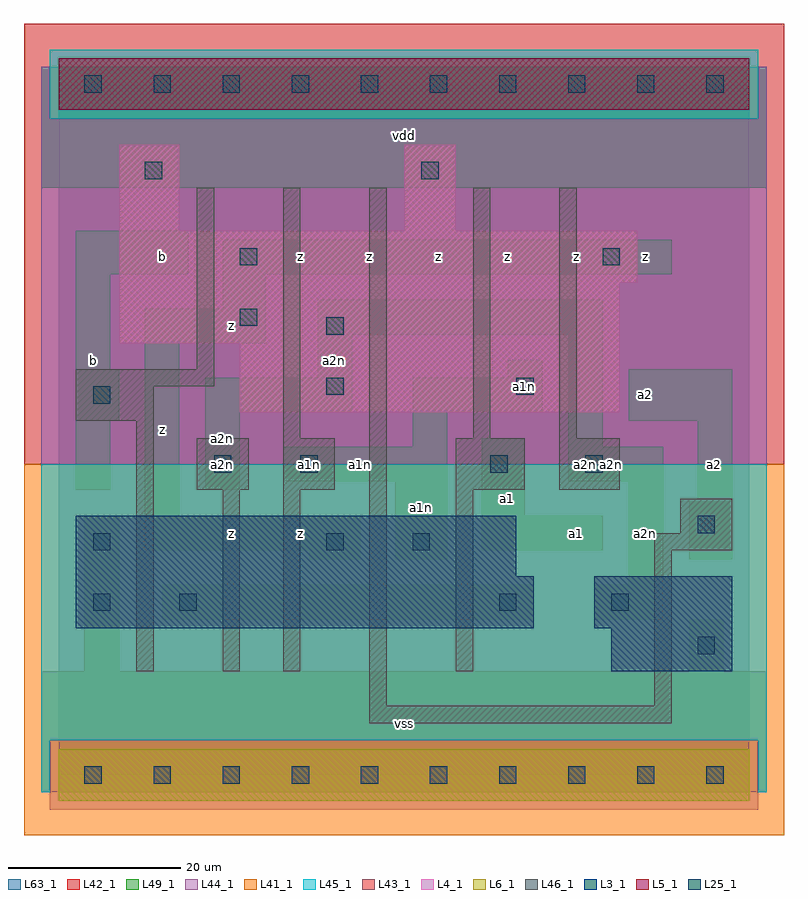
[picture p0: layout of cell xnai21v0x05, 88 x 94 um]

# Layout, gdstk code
import gdstk
lib = gdstk.Library(unit=1e-6, precision=1e-09)
def R(c, l, rs):  # rectangles x0, y0, x1, y1
    for r in rs: c.add(gdstk.rectangle(r[:2], r[2:], *l))
def A(c, l, x, y, w, h, nx, ny, dx, dy):  # array of equal rectangles
    R(c, l, [(x+i*dx, y+j*dy, x+i*dx+w, y+j*dy+h) for i in range(nx) for j in range(ny)])
L3_1 = (3, 1)
L4_1 = (4, 1)
L5_1 = (5, 1)
L6_1 = (6, 1)
L25_1 = (25, 1)
L41_1 = (41, 1)
L42_1 = (42, 1)
L43_1 = (43, 1)
L44_1 = (44, 1)
L45_1 = (45, 1)
L46_1 = (46, 1)
L49_1 = (49, 1)
L63_1 = (63, 1)

xnai21v0x05 = lib.new_cell('xnai21v0x05')
R(xnai21v0x05, L3_1, [(64,12,78,17), (2,17,55,23), (62,17,78,23), (2,23,53,30)])
R(xnai21v0x05, L4_1, [(21,42,65,50), (7,50,65,57), (7,57,67,63), (7,63,14,73), (40,63,46,73)])
R(xnai21v0x05, L5_1, [(0,77,80,83)])
R(xnai21v0x05, L6_1, [(0,-3,80,3), (0,-3,80,3)])
A(xnai21v0x05, L25_1, 3, -1, 2, 2, 10, 2, 8, 80)
R(xnai21v0x05, L25_1, [(74,14,76,16), (4,19,6,21), (14,19,16,21), (51,19,53,21), (64,19,66,21), (4,26,6,28), (31,26,33,28), (41,26,43,28), (74,28,76,30), (18,35,20,37), (28,35,30,37), (50,35,52,37), (61,35,63,37), (4,43,6,45), (31,44,33,46), (53,44,55,46), (31,51,33,53), (21,52,23,54), (21,59,23,61), (63,59,65,61), (10,69,12,71), (42,69,44,71)])
R(xnai21v0x05, L41_1, [(-4,-7,84,36)])
R(xnai21v0x05, L42_1, [(-4,36,84,87)])
R(xnai21v0x05, L43_1, [(0,-3,80,3), (64,12,78,17), (2,17,55,23), (62,17,78,23), (2,23,53,30), (21,42,65,50), (7,50,65,57), (7,57,67,63), (7,63,14,73), (40,63,46,73), (0,77,80,83)])
R(xnai21v0x05, L44_1, [(-1,-4,81,4), (-2,36,82,76), (-2,76,-1,82), (81,76,82,82)])
R(xnai21v0x05, L45_1, [(-2,-2,-1,4), (81,-2,82,4), (-2,4,82,36), (-1,76,81,84)])
R(xnai21v0x05, L46_1, [(36,6,71,8), (36,8,38,68), (69,8,71,26), (9,12,11,41), (19,12,21,33), (26,12,28,33), (46,12,48,33), (69,26,78,28), (72,28,78,32), (16,33,22,39), (26,33,32,39), (46,33,54,39), (58,33,65,39), (26,39,28,68), (48,39,50,68), (58,39,60,68), (2,41,11,45), (2,45,18,47), (16,47,18,68)])
R(xnai21v0x05, L49_1, [(-2,-2,82,12), (3,12,7,30), (73,12,77,18), (12,18,55,22), (62,18,70,22), (66,22,70,34), (29,25,35,26), (39,25,45,34), (73,25,78,32), (10,26,35,30), (49,26,63,30), (10,30,14,50), (49,30,54,39), (74,32,78,41), (2,33,6,41), (17,33,21,42), (26,34,45,38), (59,34,70,38), (41,38,45,42), (59,38,63,51), (2,41,7,47), (66,41,78,47), (17,42,34,46), (41,42,56,46), (30,46,34,51), (52,46,56,48), (2,47,6,58), (10,50,24,54), (30,51,63,55), (19,54,24,58), (2,58,15,63), (19,58,71,62), (-2,68,82,82)])
R(xnai21v0x05, L63_1, [(0,0,80,80)])
xnai21v0x05.add(gdstk.Label('a2n', (19,36), layer=49, texttype=1))
xnai21v0x05.add(gdstk.Label('a1n', (29,36), layer=49, texttype=1))
xnai21v0x05.add(gdstk.Label('a2n', (61,36), layer=49, texttype=1))
xnai21v0x05.add(gdstk.Label('b', (4,48), layer=49, texttype=1))
xnai21v0x05.add(gdstk.Label('z', (20,28), layer=49, texttype=1))
xnai21v0x05.add(gdstk.Label('z', (28,28), layer=49, texttype=1))
xnai21v0x05.add(gdstk.Label('a2n', (19,39), layer=49, texttype=1))
xnai21v0x05.add(gdstk.Label('z', (12,40), layer=49, texttype=1))
xnai21v0x05.add(gdstk.Label('z', (20,52), layer=49, texttype=1))
xnai21v0x05.add(gdstk.Label('b', (12,60), layer=49, texttype=1))
xnai21v0x05.add(gdstk.Label('z', (28,60), layer=49, texttype=1))
xnai21v0x05.add(gdstk.Label('vss', (40,6), layer=49, texttype=1))
xnai21v0x05.add(gdstk.Label('a1n', (42,31), layer=49, texttype=1))
xnai21v0x05.add(gdstk.Label('a1n', (35,36), layer=49, texttype=1))
xnai21v0x05.add(gdstk.Label('a2n', (32,48), layer=49, texttype=1))
xnai21v0x05.add(gdstk.Label('z', (44,60), layer=49, texttype=1))
xnai21v0x05.add(gdstk.Label('z', (36,60), layer=49, texttype=1))
xnai21v0x05.add(gdstk.Label('vdd', (40,74), layer=49, texttype=1))
xnai21v0x05.add(gdstk.Label('a1', (60,28), layer=49, texttype=1))
xnai21v0x05.add(gdstk.Label('a1', (52,32), layer=49, texttype=1))
xnai21v0x05.add(gdstk.Label('a1n', (54,45), layer=49, texttype=1))
xnai21v0x05.add(gdstk.Label('z', (52,60), layer=49, texttype=1))
xnai21v0x05.add(gdstk.Label('z', (60,60), layer=49, texttype=1))
xnai21v0x05.add(gdstk.Label('a2n', (68,28), layer=49, texttype=1))
xnai21v0x05.add(gdstk.Label('a2', (68,44), layer=49, texttype=1))
xnai21v0x05.add(gdstk.Label('a2n', (64,36), layer=49, texttype=1))
xnai21v0x05.add(gdstk.Label('a2', (76,36), layer=49, texttype=1))
xnai21v0x05.add(gdstk.Label('z', (68,60), layer=49, texttype=1))

lib.write_gds('xnai21v0x05.gds')
